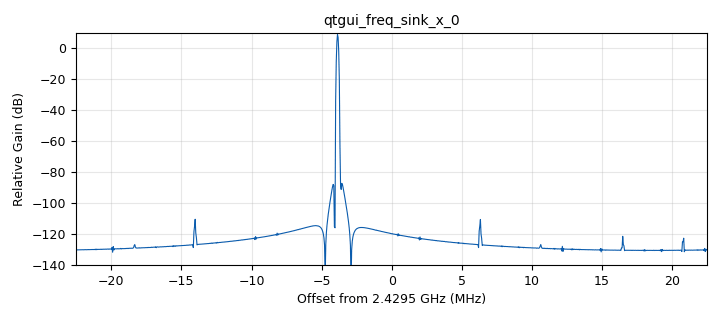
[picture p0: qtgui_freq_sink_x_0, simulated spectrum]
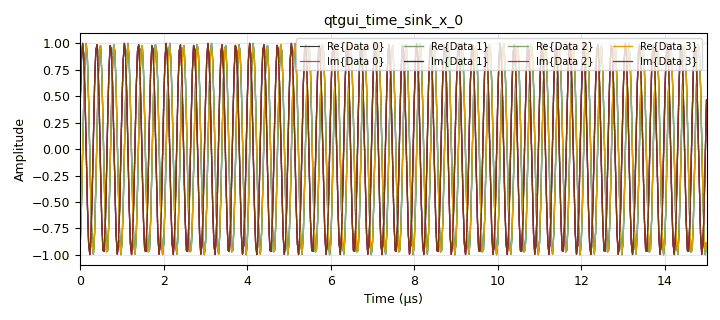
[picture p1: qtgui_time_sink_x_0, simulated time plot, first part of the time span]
options:
  parameters:
    author: gabri
    description: Jammer
    generate_options: qt_gui
    id: test2e
    output_language: python
    title: Radio3
  states: {}

blocks:
- name: frequency
  id: variable
  parameters:
    value: '2412000000'
  states: {}
- name: gain
  id: variable
  parameters:
    value: '10'
  states: {}
- name: offset
  id: variable
  parameters:
    value: '5000000'
  states: {}
- name: rand_signal_selector_1
  id: variable_function_probe
  parameters:
    block_id: rand_value_0
    function_name: level
    poll_rate: 1000/time_
    value: '0'
  states: {}
- name: rand_signal_selector_2
  id: variable_function_probe
  parameters:
    block_id: rand_value_1
    function_name: level
    poll_rate: 1000/time_
    value: '0'
  states: {}
- name: rand_signal_selector_3
  id: variable_function_probe
  parameters:
    block_id: rand_value_2
    function_name: level
    poll_rate: 1000/time_
    value: '0'
  states: {}
- name: rand_signal_selector_4
  id: variable_function_probe
  parameters:
    block_id: rand_value_3
    function_name: level
    poll_rate: 1000/time_
    value: '0'
  states: {}
- name: samp_rate
  id: variable
  parameters:
    value: '35000000'
  states: {}
- name: time_
  id: variable
  parameters:
    value: time_chooser * 1000
  states: {}
- name: time_chooser
  id: variable_qtgui_chooser
  parameters:
    label: 'Seconds:'
    num_opts: '5'
    option0: '1'
    option1: '2'
    option2: '3'
    option3: '4'
    option4: '5'
    type: int
    value: '3'
  states: {}
- name: analog_random_source_x_0
  id: analog_random_source_x
  parameters:
    max: '8'
    min: '0'
    num_samps: '1000'
    repeat: 'True'
    type: int
  states: {}
- name: analog_random_source_x_0_0
  id: analog_random_source_x
  parameters:
    max: '8'
    min: '0'
    num_samps: '1000'
    repeat: 'True'
    type: int
  states: {}
- name: analog_random_source_x_0_0_0
  id: analog_random_source_x
  parameters:
    max: '8'
    min: '0'
    num_samps: '1000'
    repeat: 'True'
    type: int
  states: {}
- name: analog_random_source_x_0_0_1
  id: analog_random_source_x
  parameters:
    max: '8'
    min: '0'
    num_samps: '1000'
    repeat: 'True'
    type: int
  states: {}
- name: analog_sig_source_x_0
  id: analog_sig_source_x
  parameters:
    amp: '1'
    freq: frequency + (0 * offset/2)
    offset: '0'
    phase: '0'
    samp_rate: samp_rate
    type: complex
    waveform: analog.GR_COS_WAVE
  states: {}
- name: analog_sig_source_x_0_0
  id: analog_sig_source_x
  parameters:
    amp: '1'
    freq: frequency + (1 * offset)
    offset: '0'
    phase: '0'
    samp_rate: samp_rate
    type: complex
    waveform: analog.GR_COS_WAVE
  states: {}
- name: analog_sig_source_x_0_1
  id: analog_sig_source_x
  parameters:
    amp: '1'
    freq: frequency + (2 * offset)
    offset: '0'
    phase: '0'
    samp_rate: samp_rate
    type: complex
    waveform: analog.GR_COS_WAVE
  states: {}
- name: analog_sig_source_x_0_2
  id: analog_sig_source_x
  parameters:
    amp: '1'
    freq: frequency + (3 * offset)
    offset: '0'
    phase: '0'
    samp_rate: samp_rate
    type: complex
    waveform: analog.GR_COS_WAVE
  states: {}
- name: analog_sig_source_x_0_2_0
  id: analog_sig_source_x
  parameters:
    amp: '1'
    freq: frequency + (4 * offset)
    offset: '0'
    phase: '0'
    samp_rate: samp_rate
    type: complex
    waveform: analog.GR_COS_WAVE
  states: {}
- name: analog_sig_source_x_0_2_0_0
  id: analog_sig_source_x
  parameters:
    amp: '1'
    freq: frequency + (5 * offset)
    offset: '0'
    phase: '0'
    samp_rate: samp_rate
    type: complex
    waveform: analog.GR_COS_WAVE
  states: {}
- name: analog_sig_source_x_0_2_0_0_0
  id: analog_sig_source_x
  parameters:
    amp: '1'
    freq: frequency + (6 * offset)
    offset: '0'
    phase: '0'
    samp_rate: samp_rate
    type: complex
    waveform: analog.GR_COS_WAVE
  states: {}
- name: analog_sig_source_x_0_2_0_0_0_0
  id: analog_sig_source_x
  parameters:
    amp: '1'
    freq: frequency + (7 * offset)
    offset: '0'
    phase: '0'
    samp_rate: samp_rate
    type: complex
    waveform: analog.GR_COS_WAVE
  states: {}
- name: blocks_add_xx_0
  id: blocks_add_xx
  parameters:
    num_inputs: '4'
    type: complex
  states: {}
- name: blocks_selector_0
  id: blocks_selector
  parameters:
    enabled: 'True'
    input_index: rand_signal_selector_1
    num_inputs: '8'
    num_outputs: '1'
    output_index: '0'
    type: complex
  states: {}
- name: blocks_selector_0_0
  id: blocks_selector
  parameters:
    enabled: 'True'
    input_index: rand_signal_selector_2
    num_inputs: '8'
    num_outputs: '1'
    output_index: '0'
    type: complex
  states: {}
- name: blocks_selector_0_0_0
  id: blocks_selector
  parameters:
    enabled: 'True'
    input_index: rand_signal_selector_3
    num_inputs: '8'
    num_outputs: '1'
    output_index: '0'
    type: complex
  states: {}
- name: blocks_selector_0_0_1
  id: blocks_selector
  parameters:
    enabled: 'True'
    input_index: rand_signal_selector_4
    num_inputs: '8'
    num_outputs: '1'
    output_index: '0'
    type: complex
  states: {}
- name: blocks_throttle2_0
  id: blocks_throttle2
  parameters:
    samples_per_second: samp_rate
    type: complex
  states: {}
- name: qtgui_freq_sink_x_0
  id: qtgui_freq_sink_x
  parameters:
    bw: '45000000'
    ctrlpanel: 'True'
    fc: '2429500000'
    fftsize: '1024'
    norm_window: 'True'
    type: complex
  states: {}
- name: qtgui_time_sink_x_0
  id: qtgui_time_sink_x
  parameters:
    autoscale: 'True'
    nconnections: '4'
    size: '1024'
    srate: samp_rate
    type: complex
  states: {}
- name: rand_value_0
  id: blocks_probe_signal_x
  parameters:
    type: int
  states: {}
- name: rand_value_1
  id: blocks_probe_signal_x
  parameters:
    type: int
  states: {}
- name: rand_value_2
  id: blocks_probe_signal_x
  parameters:
    type: int
  states: {}
- name: rand_value_3
  id: blocks_probe_signal_x
  parameters:
    type: int
  states: {}
- name: uhd_usrp_sink_0
  id: uhd_usrp_sink
  parameters:
    ant0: '"TX/RX"'
    bw0: '45000000'
    center_freq0: '2429500000'
    gain0: gain
    samp_rate: samp_rate
    sync: sync
    type: fc32
  states: {state: disabled}

connections:
- [analog_random_source_x_0, '0', rand_value_0, '0']
- [analog_random_source_x_0_0, '0', rand_value_1, '0']
- [analog_random_source_x_0_0_0, '0', rand_value_2, '0']
- [analog_random_source_x_0_0_1, '0', rand_value_3, '0']
- [analog_sig_source_x_0, '0', blocks_selector_0, '0']
- [analog_sig_source_x_0, '0', blocks_selector_0_0, '0']
- [analog_sig_source_x_0, '0', blocks_selector_0_0_0, '0']
- [analog_sig_source_x_0, '0', blocks_selector_0_0_1, '0']
- [analog_sig_source_x_0_0, '0', blocks_selector_0, '1']
- [analog_sig_source_x_0_0, '0', blocks_selector_0_0, '1']
- [analog_sig_source_x_0_0, '0', blocks_selector_0_0_0, '1']
- [analog_sig_source_x_0_0, '0', blocks_selector_0_0_1, '1']
- [analog_sig_source_x_0_1, '0', blocks_selector_0, '2']
- [analog_sig_source_x_0_1, '0', blocks_selector_0_0, '2']
- [analog_sig_source_x_0_1, '0', blocks_selector_0_0_0, '2']
- [analog_sig_source_x_0_1, '0', blocks_selector_0_0_1, '2']
- [analog_sig_source_x_0_2, '0', blocks_selector_0, '3']
- [analog_sig_source_x_0_2, '0', blocks_selector_0_0, '3']
- [analog_sig_source_x_0_2, '0', blocks_selector_0_0_0, '3']
- [analog_sig_source_x_0_2, '0', blocks_selector_0_0_1, '3']
- [analog_sig_source_x_0_2_0, '0', blocks_selector_0, '4']
- [analog_sig_source_x_0_2_0, '0', blocks_selector_0_0, '4']
- [analog_sig_source_x_0_2_0, '0', blocks_selector_0_0_0, '4']
- [analog_sig_source_x_0_2_0, '0', blocks_selector_0_0_1, '4']
- [analog_sig_source_x_0_2_0_0, '0', blocks_selector_0, '5']
- [analog_sig_source_x_0_2_0_0, '0', blocks_selector_0_0, '5']
- [analog_sig_source_x_0_2_0_0, '0', blocks_selector_0_0_0, '5']
- [analog_sig_source_x_0_2_0_0, '0', blocks_selector_0_0_1, '5']
- [analog_sig_source_x_0_2_0_0_0, '0', blocks_selector_0, '6']
- [analog_sig_source_x_0_2_0_0_0, '0', blocks_selector_0_0, '6']
- [analog_sig_source_x_0_2_0_0_0, '0', blocks_selector_0_0_0, '6']
- [analog_sig_source_x_0_2_0_0_0, '0', blocks_selector_0_0_1, '6']
- [analog_sig_source_x_0_2_0_0_0_0, '0', blocks_selector_0, '7']
- [analog_sig_source_x_0_2_0_0_0_0, '0', blocks_selector_0_0, '7']
- [analog_sig_source_x_0_2_0_0_0_0, '0', blocks_selector_0_0_0, '7']
- [analog_sig_source_x_0_2_0_0_0_0, '0', blocks_selector_0_0_1, '7']
- [blocks_add_xx_0, '0', blocks_throttle2_0, '0']
- [blocks_add_xx_0, '0', uhd_usrp_sink_0, '0']
- [blocks_selector_0, '0', blocks_add_xx_0, '0']
- [blocks_selector_0, '0', qtgui_time_sink_x_0, '0']
- [blocks_selector_0_0, '0', blocks_add_xx_0, '1']
- [blocks_selector_0_0, '0', qtgui_time_sink_x_0, '1']
- [blocks_selector_0_0_0, '0', blocks_add_xx_0, '2']
- [blocks_selector_0_0_0, '0', qtgui_time_sink_x_0, '2']
- [blocks_selector_0_0_1, '0', blocks_add_xx_0, '3']
- [blocks_selector_0_0_1, '0', qtgui_time_sink_x_0, '3']
- [blocks_throttle2_0, '0', qtgui_freq_sink_x_0, '0']

metadata:
  file_format: 1
  grc_version: 3.10.10.0
